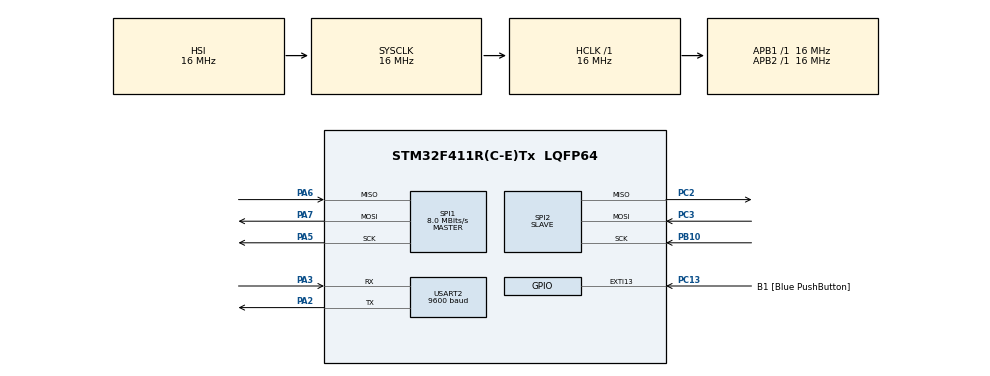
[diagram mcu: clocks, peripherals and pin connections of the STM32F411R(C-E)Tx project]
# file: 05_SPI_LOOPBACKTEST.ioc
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Dma.Request0=SPI1_RX
Dma.Request1=SPI1_TX
Dma.Request2=SPI2_RX
Dma.Request3=SPI2_TX
Dma.SPI1_RX.0.Direction=DMA_PERIPH_TO_MEMORY
Dma.SPI1_RX.0.FIFOMode=DMA_FIFOMODE_DISABLE
Dma.SPI1_RX.0.Instance=DMA2_Stream0
Dma.SPI1_RX.0.MemDataAlignment=DMA_MDATAALIGN_BYTE
Dma.SPI1_RX.0.MemInc=DMA_MINC_ENABLE
Dma.SPI1_RX.0.Mode=DMA_NORMAL
Dma.SPI1_RX.0.PeriphDataAlignment=DMA_PDATAALIGN_BYTE
Dma.SPI1_RX.0.PeriphInc=DMA_PINC_DISABLE
Dma.SPI1_RX.0.Priority=DMA_PRIORITY_LOW
Dma.SPI1_TX.1.Direction=DMA_MEMORY_TO_PERIPH
Dma.SPI1_TX.1.FIFOMode=DMA_FIFOMODE_DISABLE
Dma.SPI1_TX.1.Instance=DMA2_Stream2
Dma.SPI1_TX.1.MemDataAlignment=DMA_MDATAALIGN_BYTE
Dma.SPI1_TX.1.MemInc=DMA_MINC_ENABLE
Dma.SPI1_TX.1.Mode=DMA_NORMAL
Dma.SPI1_TX.1.PeriphDataAlignment=DMA_PDATAALIGN_BYTE
Dma.SPI1_TX.1.PeriphInc=DMA_PINC_DISABLE
Dma.SPI1_TX.1.Priority=DMA_PRIORITY_LOW
Dma.SPI2_RX.2.Direction=DMA_PERIPH_TO_MEMORY
Dma.SPI2_RX.2.FIFOMode=DMA_FIFOMODE_DISABLE
Dma.SPI2_RX.2.Instance=DMA1_Stream3
Dma.SPI2_RX.2.MemDataAlignment=DMA_MDATAALIGN_BYTE
Dma.SPI2_RX.2.MemInc=DMA_MINC_ENABLE
Dma.SPI2_RX.2.Mode=DMA_NORMAL
Dma.SPI2_RX.2.PeriphDataAlignment=DMA_PDATAALIGN_BYTE
Dma.SPI2_RX.2.PeriphInc=DMA_PINC_DISABLE
Dma.SPI2_RX.2.Priority=DMA_PRIORITY_LOW
Dma.SPI2_TX.3.Direction=DMA_MEMORY_TO_PERIPH
Dma.SPI2_TX.3.FIFOMode=DMA_FIFOMODE_DISABLE
Dma.SPI2_TX.3.Instance=DMA1_Stream4
Dma.SPI2_TX.3.MemDataAlignment=DMA_MDATAALIGN_BYTE
Dma.SPI2_TX.3.MemInc=DMA_MINC_ENABLE
Dma.SPI2_TX.3.Mode=DMA_NORMAL
Dma.SPI2_TX.3.PeriphDataAlignment=DMA_PDATAALIGN_BYTE
Dma.SPI2_TX.3.PeriphInc=DMA_PINC_DISABLE
Dma.SPI2_TX.3.Priority=DMA_PRIORITY_LOW
Mcu.Family=STM32F4
Mcu.Name=STM32F411R(C-E)Tx
Mcu.Package=LQFP64
NVIC.DMA1_Stream3_IRQn=true\:0\:0\:false\:false\:true\:false\:true
NVIC.DMA1_Stream4_IRQn=true\:0\:0\:false\:false\:true\:false\:true
NVIC.DMA2_Stream0_IRQn=true\:0\:0\:false\:false\:true\:false\:true
NVIC.DMA2_Stream2_IRQn=true\:0\:0\:false\:false\:true\:false\:true
NVIC.PriorityGroup=NVIC_PRIORITYGROUP_0
PA13.GPIO_Label=TMS
PA13.Mode=Serial_Wire
PA13.Signal=SYS_JTMS-SWDIO
PA14.GPIO_Label=TCK
PA14.Mode=Serial_Wire
PA14.Signal=SYS_JTCK-SWCLK
PA2.GPIO_ModeDefaultPP=GPIO_MODE_AF_PP
PA2.GPIO_PuPd=GPIO_NOPULL
PA2.GPIO_Speed=GPIO_SPEED_FREQ_VERY_HIGH
PA2.Mode=Asynchronous
PA2.Signal=USART2_TX
PA3.GPIO_ModeDefaultPP=GPIO_MODE_AF_PP
PA3.GPIO_PuPd=GPIO_NOPULL
PA3.GPIO_Speed=GPIO_SPEED_FREQ_VERY_HIGH
PA3.Mode=Asynchronous
PA3.Signal=USART2_RX
PA5.Mode=Full_Duplex_Master
PA5.Signal=SPI1_SCK
PA6.Mode=Full_Duplex_Master
PA6.Signal=SPI1_MISO
PA7.Mode=Full_Duplex_Master
PA7.Signal=SPI1_MOSI
PB10.Mode=Full_Duplex_Slave
PB10.Signal=SPI2_SCK
PB3.GPIO_Label=SWO
PB3.Signal=SYS_JTDO-SWO
PC13-ANTI_TAMP.GPIO_Label=B1 [Blue PushButton]
PC13-ANTI_TAMP.GPIO_ModeDefaultEXTI=GPIO_MODE_IT_FALLING
PC13-ANTI_TAMP.Signal=GPXTI13
PC14-OSC32_IN.Mode=LSE-External-Oscillator
PC14-OSC32_IN.Signal=RCC_OSC32_IN
PC15-OSC32_OUT.Mode=LSE-External-Oscillator
PC15-OSC32_OUT.Signal=RCC_OSC32_OUT
PC2.Mode=Full_Duplex_Slave
PC2.Signal=SPI2_MISO
PC3.Mode=Full_Duplex_Slave
PC3.Signal=SPI2_MOSI
PH0\ -\ OSC_IN.Mode=HSE-External-Clock-Source
PH0\ -\ OSC_IN.Signal=RCC_OSC_IN
PH1\ -\ OSC_OUT.Mode=HSE-External-Clock-Source
PH1\ -\ OSC_OUT.Signal=RCC_OSC_OUT
ProjectManager.HeapSize=0x200
ProjectManager.StackSize=0x400
ProjectManager.TargetToolchain=STM32CubeIDE
RCC.48MHZClocksFreq_Value=84000000
RCC.AHBFreq_Value=16000000
RCC.APB1Freq_Value=16000000
RCC.APB1TimFreq_Value=16000000
RCC.APB2Freq_Value=16000000
RCC.APB2TimFreq_Value=16000000
RCC.CortexFreq_Value=16000000
RCC.FLatency-AdvancedSettings=FLASH_LATENCY_0
RCC.HCLKFreq_Value=16000000
RCC.HSE_VALUE=8000000
RCC.HSI_VALUE=16000000
RCC.PLLN=336
RCC.PLLP=RCC_PLLP_DIV4
RCC.SYSCLKFreq_VALUE=16000000
RCC.VCOOutputFreq_Value=336000000
SPI1.CalculateBaudRate=8.0 MBits/s
SPI1.Direction=SPI_DIRECTION_2LINES
SPI1.Mode=SPI_MODE_MASTER
SPI1.VirtualType=VM_MASTER
SPI2.Direction=SPI_DIRECTION_2LINES
SPI2.Mode=SPI_MODE_SLAVE
SPI2.VirtualType=VM_SLAVE
USART2.BaudRate=9600
USART2.VirtualMode=VM_ASYNC
board=NUCLEO-F411RE

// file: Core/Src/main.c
/* USER CODE BEGIN Header */
/**
 ******************************************************************************
 * @file           : main.c
 * @brief          : Main program body
 ******************************************************************************
 * @attention
 *
 * <h2><center>&copy; Copyright (c) 2024 STMicroelectronics.
 * All rights reserved.</center></h2>
 *
 * This software component is licensed by ST under BSD 3-Clause license,
 * the "License"; You may not use this file except in compliance with the
 * License. You may obtain a copy of the License at:
 *                        opensource.org/licenses/BSD-3-Clause
 *
 ******************************************************************************
 */
/* USER CODE END Header */
#include "main.h"

SPI_HandleTypeDef hspi1;
SPI_HandleTypeDef hspi2;
DMA_HandleTypeDef hdma_spi1_rx;
DMA_HandleTypeDef hdma_spi1_tx;
DMA_HandleTypeDef hdma_spi2_rx;
DMA_HandleTypeDef hdma_spi2_tx;

UART_HandleTypeDef huart2;

/* USER CODE BEGIN PV */
#define COUNTOF(__BUFFER__) (sizeof(__BUFFER__) / sizeof(*(__BUFFER__)))
#define SLAVE_TX_SIZE  (COUNTOF(slave_buffer_tx)-1)
#define MASTER_TX_SIZE  (COUNTOF(master_buffer_tx)-1)
// mastar, slave tx buffer
uint8_t master_buffer_tx[] = "SJ";
uint8_t slave_buffer_tx[] =  "AB";

// mastar, slave rx buffer
uint8_t master_buffer_rx[100] = {0,};
uint8_t slave_buffer_rx[100] = {0,};

/* USER CODE END PV */

void SystemClock_Config(void);
static void MX_GPIO_Init(void);
static void MX_USART2_UART_Init(void);
static void MX_DMA_Init(void);
static void MX_SPI1_Init(void);
static void MX_SPI2_Init(void);

/* USER CODE BEGIN 0 */
//----------  printf start ----------
#ifdef __GNUC__
/* With GCC, small printf (option LD Linker->Libraries->Small printf
   set to 'Yes') calls __io_putchar() */
#define PUTCHAR_PROTOTYPE int __io_putchar(int ch)
#else
#define PUTCHAR_PROTOTYPE int fputc(int ch, FILE *f)
#endif /* __GNUC_ */
/**
 * @brief  Retargets the C library printf function to the USART.
 * @param  None
 * @retval None
 */
PUTCHAR_PROTOTYPE   // Add for printf
{
	/* Place your implementation of fputc here */
	/* e.g. write a character to the USART3 and Loop until the end of transmission */
	HAL_UART_Transmit(&huart2, (uint8_t *)&ch, 1, 0xFFFF);

	return ch;
}
//----------  printf end ----------

/* USER CODE END 0 */

int main(void)
{

  /* MCU Configuration--------------------------------------------------------*/

  /* Reset of all peripherals, Initializes the Flash interface and the Systick. */
  HAL_Init();

  /* Configure the system clock */
  SystemClock_Config();

  /* Initialize all configured peripherals */
  MX_GPIO_Init();
  MX_USART2_UART_Init();
  MX_DMA_Init();
  MX_SPI1_Init();
  MX_SPI2_Init();

  /* Infinite loop */
  /* USER CODE BEGIN WHILE */
	while (1)
	{
#if 1
		// Wait for the button event
		while(HAL_GPIO_ReadPin(B1_GPIO_Port, B1_Pin) != RESET)
		{
			;
		}
		printf("B1_GPIO_Port !!!!\n");

		for (int i=0; i < 100; i++)
		{
			master_buffer_rx[i]=0;
		}
		for (int i=0; i < 100; i++)
		{
			slave_buffer_rx[i]=0;
		}
		// receive the data from SPI1(master)
		if (HAL_SPI_Receive_DMA(&hspi2, (uint8_t *) slave_buffer_rx, MASTER_TX_SIZE) != HAL_OK)
		{
			Error_Handler();
		}
		// send the data to SPI2(slave)
		if (HAL_SPI_Transmit_DMA(&hspi1, (uint8_t *) master_buffer_tx, MASTER_TX_SIZE) != HAL_OK)
		{
			Error_Handler();
		}

		// check thwe SPI tx,rx state
		while (HAL_SPI_GetState(&hspi2) != HAL_SPI_STATE_READY)
		{
			;
		}
		while (HAL_SPI_GetState(&hspi1) != HAL_SPI_STATE_READY)
		{
			;
		}

		// send the data to SPI1(master)
		if (HAL_SPI_Transmit_DMA(&hspi2, (uint8_t *) slave_buffer_tx, SLAVE_TX_SIZE) != HAL_OK)
		{
			Error_Handler();
		}

		// receive the data from SPI2(slave)
		if (HAL_SPI_Receive_DMA(&hspi1, (uint8_t *) master_buffer_rx, SLAVE_TX_SIZE) != HAL_OK)
		{
			Error_Handler();
		}

		// check thwe SPI tx,rx state
		while (HAL_SPI_GetState(&hspi2) != HAL_SPI_STATE_READY)
		{
			;
		}
		while (HAL_SPI_GetState(&hspi1) != HAL_SPI_STATE_READY)
		{
			;
		}

		printf("\nmaster_buffer_rx: %s\n",master_buffer_rx);
		printf("\nslave_buffer_rx: %s\n", slave_buffer_rx);
#endif

    /* USER CODE END WHILE */

	}
}

void SystemClock_Config(void)
{
  RCC_OscInitTypeDef RCC_OscInitStruct = {0};
  RCC_ClkInitTypeDef RCC_ClkInitStruct = {0};

  /** Configure the main internal regulator output voltage
  */
  __HAL_RCC_PWR_CLK_ENABLE();
  __HAL_PWR_VOLTAGESCALING_CONFIG(PWR_REGULATOR_VOLTAGE_SCALE1);
  /** Initializes the RCC Oscillators according to the specified parameters
  * in the RCC_OscInitTypeDef structure.
  */
  RCC_OscInitStruct.OscillatorType = RCC_OSCILLATORTYPE_HSI;
  RCC_OscInitStruct.HSIState = RCC_HSI_ON;
  RCC_OscInitStruct.HSICalibrationValue = RCC_HSICALIBRATION_DEFAULT;
  RCC_OscInitStruct.PLL.PLLState = RCC_PLL_NONE;
  if (HAL_RCC_OscConfig(&RCC_OscInitStruct) != HAL_OK)
  {
    Error_Handler();
  }
  /** Initializes the CPU, AHB and APB buses clocks
  */
  RCC_ClkInitStruct.ClockType = RCC_CLOCKTYPE_HCLK|RCC_CLOCKTYPE_SYSCLK
                              |RCC_CLOCKTYPE_PCLK1|RCC_CLOCKTYPE_PCLK2;
  RCC_ClkInitStruct.SYSCLKSource = RCC_SYSCLKSOURCE_HSI;
  RCC_ClkInitStruct.AHBCLKDivider = RCC_SYSCLK_DIV1;
  RCC_ClkInitStruct.APB1CLKDivider = RCC_HCLK_DIV1;
  RCC_ClkInitStruct.APB2CLKDivider = RCC_HCLK_DIV1;

  if (HAL_RCC_ClockConfig(&RCC_ClkInitStruct, FLASH_LATENCY_0) != HAL_OK)
  {
    Error_Handler();
  }
}

static void MX_SPI1_Init(void)
{

  /* SPI1 parameter configuration*/
  hspi1.Instance = SPI1;
  hspi1.Init.Mode = SPI_MODE_MASTER;
  hspi1.Init.Direction = SPI_DIRECTION_2LINES;
  hspi1.Init.DataSize = SPI_DATASIZE_8BIT;
  hspi1.Init.CLKPolarity = SPI_POLARITY_LOW;
  hspi1.Init.CLKPhase = SPI_PHASE_1EDGE;
  hspi1.Init.NSS = SPI_NSS_SOFT;
  hspi1.Init.BaudRatePrescaler = SPI_BAUDRATEPRESCALER_2;
  hspi1.Init.FirstBit = SPI_FIRSTBIT_MSB;
  hspi1.Init.TIMode = SPI_TIMODE_DISABLE;
  hspi1.Init.CRCCalculation = SPI_CRCCALCULATION_DISABLE;
  hspi1.Init.CRCPolynomial = 10;
  if (HAL_SPI_Init(&hspi1) != HAL_OK)
  {
    Error_Handler();
  }

}

static void MX_SPI2_Init(void)
{

  /* SPI2 parameter configuration*/
  hspi2.Instance = SPI2;
  hspi2.Init.Mode = SPI_MODE_SLAVE;
  hspi2.Init.Direction = SPI_DIRECTION_2LINES;
  hspi2.Init.DataSize = SPI_DATASIZE_8BIT;
  hspi2.Init.CLKPolarity = SPI_POLARITY_LOW;
  hspi2.Init.CLKPhase = SPI_PHASE_1EDGE;
  hspi2.Init.NSS = SPI_NSS_SOFT;
  hspi2.Init.FirstBit = SPI_FIRSTBIT_MSB;
  hspi2.Init.TIMode = SPI_TIMODE_DISABLE;
  hspi2.Init.CRCCalculation = SPI_CRCCALCULATION_DISABLE;
  hspi2.Init.CRCPolynomial = 10;
  if (HAL_SPI_Init(&hspi2) != HAL_OK)
  {
    Error_Handler();
  }

}

static void MX_USART2_UART_Init(void)
{

  huart2.Instance = USART2;
  huart2.Init.BaudRate = 9600;
  huart2.Init.WordLength = UART_WORDLENGTH_8B;
  huart2.Init.StopBits = UART_STOPBITS_1;
  huart2.Init.Parity = UART_PARITY_NONE;
  huart2.Init.Mode = UART_MODE_TX_RX;
  huart2.Init.HwFlowCtl = UART_HWCONTROL_NONE;
  huart2.Init.OverSampling = UART_OVERSAMPLING_16;
  if (HAL_UART_Init(&huart2) != HAL_OK)
  {
    Error_Handler();
  }

}

static void MX_DMA_Init(void)
{

  /* DMA controller clock enable */
  __HAL_RCC_DMA2_CLK_ENABLE();
  __HAL_RCC_DMA1_CLK_ENABLE();

  /* DMA interrupt init */
  /* DMA1_Stream3_IRQn interrupt configuration */
  HAL_NVIC_SetPriority(DMA1_Stream3_IRQn, 0, 0);
  HAL_NVIC_EnableIRQ(DMA1_Stream3_IRQn);
  /* DMA1_Stream4_IRQn interrupt configuration */
  HAL_NVIC_SetPriority(DMA1_Stream4_IRQn, 0, 0);
  HAL_NVIC_EnableIRQ(DMA1_Stream4_IRQn);
  /* DMA2_Stream0_IRQn interrupt configuration */
  HAL_NVIC_SetPriority(DMA2_Stream0_IRQn, 0, 0);
  HAL_NVIC_EnableIRQ(DMA2_Stream0_IRQn);
  /* DMA2_Stream2_IRQn interrupt configuration */
  HAL_NVIC_SetPriority(DMA2_Stream2_IRQn, 0, 0);
  HAL_NVIC_EnableIRQ(DMA2_Stream2_IRQn);

}

static void MX_GPIO_Init(void)
{
  GPIO_InitTypeDef GPIO_InitStruct = {0};

  /* GPIO Ports Clock Enable */
  __HAL_RCC_GPIOC_CLK_ENABLE();
  __HAL_RCC_GPIOH_CLK_ENABLE();
  __HAL_RCC_GPIOA_CLK_ENABLE();
  __HAL_RCC_GPIOB_CLK_ENABLE();

  /*Configure GPIO pin : B1_Pin */
  GPIO_InitStruct.Pin = B1_Pin;
  GPIO_InitStruct.Mode = GPIO_MODE_IT_FALLING;
  GPIO_InitStruct.Pull = GPIO_NOPULL;
  HAL_GPIO_Init(B1_GPIO_Port, &GPIO_InitStruct);

}

void Error_Handler(void)
{
	__disable_irq();
	while (1)
	{
	}
}

/************************ (C) COPYRIGHT STMicroelectronics *****END OF FILE****/
